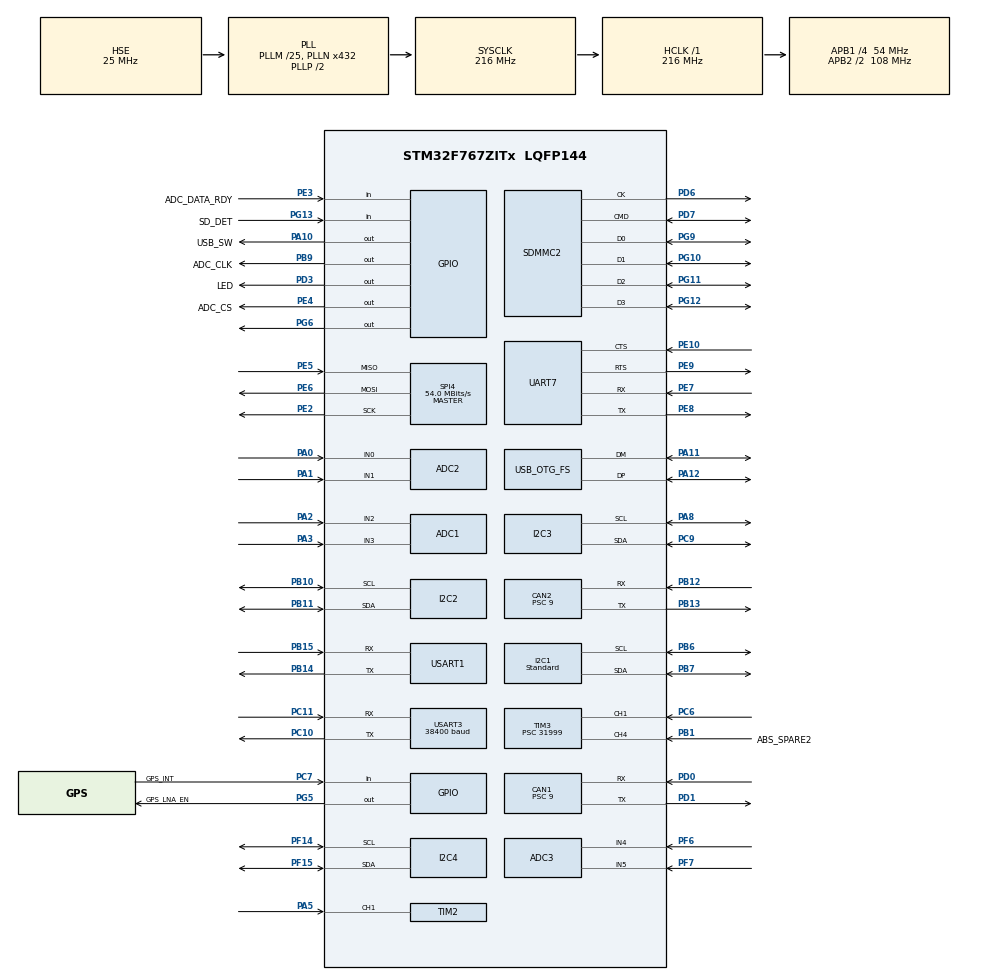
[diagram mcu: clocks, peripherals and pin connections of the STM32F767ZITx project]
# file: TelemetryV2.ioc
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ADC1.Channel-1\#ChannelRegularConversion=ADC_CHANNEL_2
ADC1.Channel-2\#ChannelRegularConversion=ADC_CHANNEL_3
ADC1.ClockPrescaler=ADC_CLOCK_SYNC_PCLK_DIV4
ADC1.ContinuousConvMode=ENABLE
ADC1.DMAContinuousRequests=ENABLE
ADC1.NbrOfConversion=2
ADC1.NbrOfConversionFlag=1
ADC1.Rank-1\#ChannelRegularConversion=1
ADC1.Rank-2\#ChannelRegularConversion=2
ADC1.SamplingTime-1\#ChannelRegularConversion=ADC_SAMPLETIME_480CYCLES
ADC1.SamplingTime-2\#ChannelRegularConversion=ADC_SAMPLETIME_480CYCLES
ADC1.ScanConvMode=ADC_SCAN_ENABLE
ADC1.master=1
ADC2.Channel-0\#ChannelRegularConversion=ADC_CHANNEL_0
ADC2.Channel-1\#ChannelRegularConversion=ADC_CHANNEL_1
ADC2.ClockPrescaler=ADC_CLOCK_SYNC_PCLK_DIV4
ADC2.ContinuousConvMode=ENABLE
ADC2.DMAContinuousRequests=ENABLE
ADC2.NbrOfConversion=2
ADC2.NbrOfConversionFlag=1
ADC2.Rank-0\#ChannelRegularConversion=1
ADC2.Rank-1\#ChannelRegularConversion=2
ADC2.SamplingTime-0\#ChannelRegularConversion=ADC_SAMPLETIME_480CYCLES
ADC2.SamplingTime-1\#ChannelRegularConversion=ADC_SAMPLETIME_480CYCLES
ADC2.ScanConvMode=ADC_SCAN_ENABLE
ADC3.Channel-0\#ChannelRegularConversion=ADC_CHANNEL_4
ADC3.Channel-1\#ChannelRegularConversion=ADC_CHANNEL_5
ADC3.ClockPrescaler=ADC_CLOCK_SYNC_PCLK_DIV4
ADC3.ContinuousConvMode=ENABLE
ADC3.DMAContinuousRequests=ENABLE
ADC3.NbrOfConversion=2
ADC3.NbrOfConversionFlag=1
ADC3.Rank-0\#ChannelRegularConversion=1
ADC3.Rank-1\#ChannelRegularConversion=2
ADC3.SamplingTime-0\#ChannelRegularConversion=ADC_SAMPLETIME_480CYCLES
ADC3.SamplingTime-1\#ChannelRegularConversion=ADC_SAMPLETIME_480CYCLES
ADC3.ScanConvMode=ADC_SCAN_ENABLE
CAN1.BS1=CAN_BS1_2TQ
CAN1.BS2=CAN_BS2_3TQ
CAN1.CalculateBaudRate=999999
CAN1.CalculateTimeBit=1000
CAN1.CalculateTimeQuantum=166.66666666666669
CAN1.NART=ENABLE
CAN1.Prescaler=9
CAN1.SJW=CAN_SJW_2TQ
CAN2.BS1=CAN_BS1_2TQ
CAN2.BS2=CAN_BS2_3TQ
CAN2.CalculateBaudRate=999999
CAN2.CalculateTimeBit=1000
CAN2.CalculateTimeQuantum=166.66666666666669
CAN2.NART=ENABLE
CAN2.Prescaler=9
CAN2.SJW=CAN_SJW_2TQ
Dma.ADC1.2.Direction=DMA_PERIPH_TO_MEMORY
Dma.ADC1.2.FIFOMode=DMA_FIFOMODE_DISABLE
Dma.ADC1.2.Instance=DMA2_Stream4
Dma.ADC1.2.MemDataAlignment=DMA_MDATAALIGN_HALFWORD
Dma.ADC1.2.MemInc=DMA_MINC_ENABLE
Dma.ADC1.2.Mode=DMA_CIRCULAR
Dma.ADC1.2.PeriphDataAlignment=DMA_PDATAALIGN_HALFWORD
Dma.ADC1.2.PeriphInc=DMA_PINC_DISABLE
Dma.ADC1.2.Priority=DMA_PRIORITY_LOW
Dma.ADC2.3.Direction=DMA_PERIPH_TO_MEMORY
Dma.ADC2.3.FIFOMode=DMA_FIFOMODE_DISABLE
Dma.ADC2.3.Instance=DMA2_Stream2
Dma.ADC2.3.MemDataAlignment=DMA_MDATAALIGN_HALFWORD
Dma.ADC2.3.MemInc=DMA_MINC_ENABLE
Dma.ADC2.3.Mode=DMA_CIRCULAR
Dma.ADC2.3.PeriphDataAlignment=DMA_PDATAALIGN_HALFWORD
Dma.ADC2.3.PeriphInc=DMA_PINC_DISABLE
Dma.ADC2.3.Priority=DMA_PRIORITY_LOW
Dma.ADC3.4.Direction=DMA_PERIPH_TO_MEMORY
Dma.ADC3.4.FIFOMode=DMA_FIFOMODE_DISABLE
Dma.ADC3.4.Instance=DMA2_Stream1
Dma.ADC3.4.MemDataAlignment=DMA_MDATAALIGN_HALFWORD
Dma.ADC3.4.MemInc=DMA_MINC_ENABLE
Dma.ADC3.4.Mode=DMA_NORMAL
Dma.ADC3.4.PeriphDataAlignment=DMA_PDATAALIGN_HALFWORD
Dma.ADC3.4.PeriphInc=DMA_PINC_DISABLE
Dma.ADC3.4.Priority=DMA_PRIORITY_LOW
Dma.Request0=SDMMC2_RX
Dma.Request1=SDMMC2_TX
Dma.Request2=ADC1
Dma.Request3=ADC2
Dma.Request4=ADC3
Dma.SDMMC2_RX.0.Direction=DMA_PERIPH_TO_MEMORY
Dma.SDMMC2_RX.0.FIFOMode=DMA_FIFOMODE_ENABLE
Dma.SDMMC2_RX.0.FIFOThreshold=DMA_FIFO_THRESHOLD_FULL
Dma.SDMMC2_RX.0.Instance=DMA2_Stream0
Dma.SDMMC2_RX.0.MemBurst=DMA_MBURST_INC4
Dma.SDMMC2_RX.0.MemDataAlignment=DMA_MDATAALIGN_WORD
Dma.SDMMC2_RX.0.MemInc=DMA_MINC_ENABLE
Dma.SDMMC2_RX.0.Mode=DMA_PFCTRL
Dma.SDMMC2_RX.0.PeriphBurst=DMA_PBURST_INC4
Dma.SDMMC2_RX.0.PeriphDataAlignment=DMA_PDATAALIGN_WORD
Dma.SDMMC2_RX.0.PeriphInc=DMA_PINC_DISABLE
Dma.SDMMC2_RX.0.Priority=DMA_PRIORITY_LOW
Dma.SDMMC2_TX.1.Direction=DMA_MEMORY_TO_PERIPH
Dma.SDMMC2_TX.1.FIFOMode=DMA_FIFOMODE_ENABLE
Dma.SDMMC2_TX.1.FIFOThreshold=DMA_FIFO_THRESHOLD_FULL
Dma.SDMMC2_TX.1.Instance=DMA2_Stream5
Dma.SDMMC2_TX.1.MemBurst=DMA_MBURST_INC4
Dma.SDMMC2_TX.1.MemDataAlignment=DMA_MDATAALIGN_WORD
Dma.SDMMC2_TX.1.MemInc=DMA_MINC_ENABLE
Dma.SDMMC2_TX.1.Mode=DMA_PFCTRL
Dma.SDMMC2_TX.1.PeriphBurst=DMA_PBURST_INC4
Dma.SDMMC2_TX.1.PeriphDataAlignment=DMA_PDATAALIGN_WORD
Dma.SDMMC2_TX.1.PeriphInc=DMA_PINC_DISABLE
Dma.SDMMC2_TX.1.Priority=DMA_PRIORITY_LOW
FATFS.BSP.number=1
FATFS.USE_DMA_CODE_SD=1
FATFS._FS_LOCK=5
FATFS._MAX_LFN=40
FATFS._MAX_SS=4096
FATFS._MIN_SS=512
FATFS._STRF_ENCODE=0
FATFS._USE_LFN=1
FATFS0.BSP.STBoard=false
FATFS0.BSP.api=Unknown
FATFS0.BSP.instance=PG13
FATFS0.BSP.ip=GPIO
FATFS0.BSP.mode=Input
FATFS0.BSP.name=Detect_SDIO
FATFS0.BSP.solution=PG13
I2C1.I2C_Speed_Mode=I2C_Standard
I2C1.Timing=0x20404768
I2C2.Timing=0x20404768
I2C3.Timing=0x20404768
I2C4.Timing=0x20404768
Mcu.Family=STM32F7
Mcu.Name=STM32F767ZITx
Mcu.Package=LQFP144
NVIC.CAN1_RX0_IRQn=true\:0\:0\:false\:false\:true\:true\:true\:true
NVIC.CAN1_RX1_IRQn=true\:0\:0\:false\:false\:true\:true\:true\:true
NVIC.CAN1_TX_IRQn=true\:0\:0\:false\:false\:true\:true\:true\:true
NVIC.CAN2_RX0_IRQn=true\:0\:0\:false\:false\:true\:true\:true\:true
NVIC.CAN2_RX1_IRQn=true\:0\:0\:false\:false\:true\:true\:true\:true
NVIC.CAN2_TX_IRQn=true\:0\:0\:false\:false\:true\:true\:true\:true
NVIC.DMA2_Stream0_IRQn=true\:0\:0\:false\:false\:true\:false\:true\:true
NVIC.DMA2_Stream1_IRQn=true\:0\:0\:false\:false\:true\:false\:true\:true
NVIC.DMA2_Stream2_IRQn=true\:0\:0\:false\:false\:true\:false\:true\:true
NVIC.DMA2_Stream4_IRQn=true\:0\:0\:false\:false\:true\:false\:true\:true
NVIC.DMA2_Stream5_IRQn=true\:0\:0\:false\:false\:true\:false\:true\:true
NVIC.PriorityGroup=NVIC_PRIORITYGROUP_4
NVIC.SDMMC2_IRQn=true\:0\:0\:false\:false\:true\:true\:true\:true
NVIC.TIM2_IRQn=true\:0\:0\:false\:false\:true\:true\:true\:true
NVIC.TIM3_IRQn=true\:0\:0\:false\:false\:true\:true\:true\:true
NVIC.TIM8_TRG_COM_TIM14_IRQn=true\:0\:0\:true\:false\:true\:true\:true\:true
NVIC.USART3_IRQn=true\:0\:0\:false\:false\:true\:true\:true\:true
PA0/WKUP.Signal=ADCx_IN0
PA1.Signal=ADCx_IN1
PA10.GPIO_Label=USB_SW
PA10.Signal=GPIO_Output
PA11.Mode=Host_Only
PA11.Signal=USB_OTG_FS_DM
PA12.Mode=Host_Only
PA12.Signal=USB_OTG_FS_DP
PA2.Signal=ADCx_IN2
PA3.Signal=ADCx_IN3
PA5.Signal=S_TIM2_CH1_ETR
PA8.Mode=I2C
PA8.Signal=I2C3_SCL
PB1.GPIO_Label=ABS_SPARE2
PB1.Signal=S_TIM3_CH4
PB10.Mode=I2C
PB10.Signal=I2C2_SCL
PB11.Mode=I2C
PB11.Signal=I2C2_SDA
PB12.Mode=CAN_Activate
PB12.Signal=CAN2_RX
PB13.Mode=CAN_Activate
PB13.Signal=CAN2_TX
PB14.Mode=Asynchronous
PB14.Signal=USART1_TX
PB15.Mode=Asynchronous
PB15.Signal=USART1_RX
PB6.GPIO_Pu=GPIO_PULLUP
PB6.Mode=I2C
PB6.Signal=I2C1_SCL
PB7.GPIO_Pu=GPIO_PULLUP
PB7.Mode=I2C
PB7.Signal=I2C1_SDA
PB9.GPIO_Label=ADC_CLK
PB9.Signal=GPIO_Output
PC10.Mode=Asynchronous
PC10.Signal=USART3_TX
PC11.Mode=Asynchronous
PC11.Signal=USART3_RX
PC14/OSC32_IN.Mode=LSE-External-Oscillator
PC14/OSC32_IN.Signal=RCC_OSC32_IN
PC15/OSC32_OUT.Mode=LSE-External-Oscillator
PC15/OSC32_OUT.Signal=RCC_OSC32_OUT
PC6.Signal=S_TIM3_CH1
PC7.GPIO_Label=GPS_INT
PC7.Signal=GPIO_Input
PC9.Mode=I2C
PC9.Signal=I2C3_SDA
PD0.Mode=CAN_Activate
PD0.Signal=CAN1_RX
PD1.Mode=CAN_Activate
PD1.Signal=CAN1_TX
PD3.GPIO_Label=LED
PD3.Signal=GPIO_Output
PD6.GPIO_PuPd=GPIO_NOPULL
PD6.Mode=SD_4_bits_Wide_bus
PD6.Signal=SDMMC2_CK
PD7.GPIO_PuPd=GPIO_NOPULL
PD7.Mode=SD_4_bits_Wide_bus
PD7.Signal=SDMMC2_CMD
PE10.Mode=CTS_RTS
PE10.Signal=UART7_CTS
PE2.Mode=Full_Duplex_Master
PE2.Signal=SPI4_SCK
PE3.GPIO_Label=ADC_DATA_RDY
PE3.Signal=GPIO_Input
PE4.GPIO_Label=ADC_CS
PE4.Signal=GPIO_Output
PE5.Mode=Full_Duplex_Master
PE5.Signal=SPI4_MISO
PE6.Mode=Full_Duplex_Master
PE6.Signal=SPI4_MOSI
PE7.Mode=Asynchronous
PE7.Signal=UART7_RX
PE8.Mode=Asynchronous
PE8.Signal=UART7_TX
PE9.Mode=CTS_RTS
PE9.Signal=UART7_RTS
PF14.Mode=I2C
PF14.Signal=I2C4_SCL
PF15.Mode=I2C
PF15.Signal=I2C4_SDA
PF6.Mode=IN4
PF6.Signal=ADC3_IN4
PF7.Mode=IN5
PF7.Signal=ADC3_IN5
PG10.GPIO_PuPd=GPIO_NOPULL
PG10.Mode=SD_4_bits_Wide_bus
PG10.Signal=SDMMC2_D1
PG11.GPIO_PuPd=GPIO_NOPULL
PG11.Mode=SD_4_bits_Wide_bus
PG11.Signal=SDMMC2_D2
PG12.GPIO_PuPd=GPIO_NOPULL
PG12.Mode=SD_4_bits_Wide_bus
PG12.Signal=SDMMC2_D3
PG13.GPIO_Label=SD_DET
PG13.GPIO_PuPd=GPIO_PULLDOWN
PG13.Signal=GPIO_Input
PG5.GPIO_Label=GPS_LNA_EN
PG5.PinState=GPIO_PIN_SET
PG5.Signal=GPIO_Output
PG6.Signal=GPIO_Output
PG9.GPIO_PuPd=GPIO_NOPULL
PG9.Mode=SD_4_bits_Wide_bus
PG9.Signal=SDMMC2_D0
PH0/OSC_IN.Mode=HSE-External-Oscillator
PH0/OSC_IN.Signal=RCC_OSC_IN
PH1/OSC_OUT.Mode=HSE-External-Oscillator
PH1/OSC_OUT.Signal=RCC_OSC_OUT
ProjectManager.HeapSize=0x200
ProjectManager.StackSize=0x400
ProjectManager.TargetToolchain=STM32CubeIDE
RCC.AHBFreq_Value=216000000
RCC.APB1CLKDivider=RCC_HCLK_DIV4
RCC.APB1Freq_Value=54000000
RCC.APB1TimFreq_Value=108000000
RCC.APB2CLKDivider=RCC_HCLK_DIV2
RCC.APB2Freq_Value=108000000
RCC.APB2TimFreq_Value=216000000
RCC.CortexFreq_Value=216000000
RCC.HCLKFreq_Value=216000000
RCC.HSE_VALUE=25000000
RCC.HSI_VALUE=16000000
RCC.LSE_Drive_Capability=RCC_LSEDRIVE_HIGH
RCC.LSE_Timout=2000
RCC.PLLM=25
RCC.PLLN=432
RCC.PLLQ=9
RCC.RCC_TIM_PRescaler_Selection=RCC_TIMPRES_DESACTIVATED
RCC.RTCClockSelection=RCC_RTCCLKSOURCE_LSE
RCC.SDMMC2ClockSelection=RCC_SDMMC2CLKSOURCE_CLK48
RCC.SYSCLKFreq_VALUE=216000000
RCC.SYSCLKSource=RCC_SYSCLKSOURCE_PLLCLK
RCC.USBFreq_Value=48000000
RCC.VCOOutputFreq_Value=432000000
RTC.AsynchPrediv=31
RTC.Format=RTC_FORMAT_BIN
RTC.SynchPrediv=1023
SDMMC2.ClockDiv=0
SH.ADCx_IN0.0=ADC2_IN0,IN0
SH.ADCx_IN1.0=ADC2_IN1,IN1
SH.ADCx_IN2.0=ADC1_IN2,IN2
SH.ADCx_IN3.0=ADC1_IN3,IN3
SH.S_TIM2_CH1_ETR.0=TIM2_CH1,TriggerSource_TI1ED
SH.S_TIM2_CH1_ETR.1=TIM2_CH1,Input_Capture1_from_TI1
SH.S_TIM3_CH1.0=TIM3_CH1,TriggerSource_TI1ED
SH.S_TIM3_CH4.0=TIM3_CH4,Input_Capture4_from_TI4
SPI4.BaudRatePrescaler=SPI_BAUDRATEPRESCALER_2
SPI4.CalculateBaudRate=54.0 MBits/s
SPI4.Direction=SPI_DIRECTION_2LINES
SPI4.Mode=SPI_MODE_MASTER
SPI4.VirtualType=VM_MASTER
TIM14.AutoReloadPreload=TIM_AUTORELOAD_PRELOAD_ENABLE
TIM14.Period=49
TIM14.Prescaler=10799
TIM2.Channel-Input_Capture1_from_TI1=TIM_CHANNEL_1
TIM2.ICFilter_CH1=15
TIM2.Prescaler=31999
TIM3.Channel-Input_Capture4_from_TI4=TIM_CHANNEL_4
TIM3.ICFilter_CH4=15
TIM3.Prescaler=31999
USART1.VirtualMode-Asynchronous=VM_ASYNC
USART3.BaudRate=38400
USART3.DMADisableonRxErrorParam=ADVFEATURE_DMA_DISABLEONRXERROR
USART3.OneBitSampling=UART_ONE_BIT_SAMPLE_DISABLE
USART3.OverrunDisableParam=ADVFEATURE_OVERRUN_DISABLE
USART3.VirtualMode-Asynchronous=VM_ASYNC
USB_OTG_FS.VirtualMode=Host_Only
USB_OTG_FS.phy_itface=HCD_PHY_EMBEDDED
VP_FATFS_VS_SDIO.Mode=SDIO
VP_RTC_VS_RTC_Activate.Mode=RTC_Enabled
VP_RTC_VS_RTC_Calendar.Mode=RTC_Calendar
VP_TIM14_VS_ClockSourceINT.Mode=Enable_Timer
VP_TIM2_VS_ClockSourceINT.Mode=Internal
VP_TIM2_VS_ControllerModeReset.Mode=Reset Mode
VP_TIM3_VS_ClockSourceINT.Mode=Internal
VP_TIM3_VS_ControllerModeReset.Mode=Reset Mode
board=custom

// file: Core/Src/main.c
/* USER CODE BEGIN Header */
/**
  ******************************************************************************
  * @file           : main.c
  * @brief          : Main program body
  ******************************************************************************
  * @attention
  *
  * Copyright (c) 2023 STMicroelectronics.
  * All rights reserved.
  *
  * This software is licensed under terms that can be found in the LICENSE file
  * in the root directory of this software component.
  * If no LICENSE file comes with this software, it is provided AS-IS.
  *
  ******************************************************************************
  */
/* USER CODE END Header */
#include "main.h"
#include "adc.h"
#include "can.h"
#include "dma.h"
#include "fatfs.h"
#include "i2c.h"
#include "rtc.h"
#include "sdmmc.h"
#include "spi.h"
#include "tim.h"
#include "usart.h"
#include "usb_otg.h"
#include "gpio.h"

/* USER CODE BEGIN Includes */
#include <stdio.h>
#include <string.h>
#include <stdarg.h>

#include "handler.h"
#include "sdcard/SDCARD.h"
#include "ecumaster.h"
#include "Utils/time.h"

/* USER CODE END Includes */

/* USER CODE BEGIN PV */

 extern sensorDataHandler _dataHandler[];
 extern SensorStatus statusRegister;
/* USER CODE END PV */

void SystemClock_Config(void);

/* USER CODE BEGIN 0 */

void HAL_TIM_PeriodElapsedCallback(TIM_HandleTypeDef *htim)
{

  if (htim == &htim14 )
  {
	  IMUInnerSensor.timeToNextRead -= 5;
	 if(IMUInnerSensor.timeToNextRead <= 0){
		 if(IMUInnerSensor.dataReady){
			 IMUInnerSensor.dataReady=0;
			 _dataHandler[IMU].dataReady = 1;
		 }

		 IMUInnerSensor.timeToNextRead = 0;
	 }
	 damperLFSensor.timeToNextRead -= 5;
	 if(damperLFSensor.timeToNextRead <= 0){
		 _dataHandler[DAMPERRF].dataReady = 1;
		 _dataHandler[DAMPERLF].dataReady = 1;
		 _dataHandler[DAMPERRR].dataReady = 1;
		 _dataHandler[DAMPERLR].dataReady = 1;
		 _dataHandler[WHEEL].dataReady = 1;
		 damperLFSensor.timeToNextRead = 5;
	 }
	 damperLFSensor.sendDataByCanTime -= 5;
	 if( damperLFSensor.sendDataByCanTime<= 0){
		 adcSendDataByCan(&damperLFSensor);
		 adcSendDataByCan(&damperRFSensor);
		 adcSendDataByCan(&damperRRSensor);
		 adcSendDataByCan(&damperLRSensor);
		 damperLFSensor.sendDataByCanTime = 100;
	 }
	 absLFSensor.timeToNextRead -= 5;
	 if(absLFSensor.timeToNextRead <= 0)
	 {
		 ABSCalculate(&absLFSensor);
		 absLFSensor.timestamp = getSeconds();
		 absLFSensor.timeToNextRead = 5;
		 _dataHandler[ABSLF].dataReady = 1;
	 }
	 absRFSensor.timeToNextRead -= 5;
	 if(absRFSensor.timeToNextRead <= 0)
	 {
		 ABSCalculate(&absRFSensor);
		 absRFSensor.timestamp = getSeconds();
		 absRFSensor.timeToNextRead = 5;
		 _dataHandler[ABSRF].dataReady = 1;
	 }

  }
}

//ABS Callback handler
void HAL_TIM_IC_CaptureCallback(TIM_HandleTypeDef *htim)
{
	ABSCallbackHandler(htim);
}
//GPS Callback handler
void HAL_UART_RxCpltCallback(UART_HandleTypeDef *huart)
{

	if(huart==gpsSensor.uart)
	{
		GPSCallbackHandler();
	}
}

/* USER CODE END 0 */

int main(void)
{

  /* MCU Configuration--------------------------------------------------------*/

  /* Reset of all peripherals, Initializes the Flash interface and the Systick. */
  HAL_Init();

  /* Configure the system clock */
  SystemClock_Config();

  /* Initialize all configured peripherals */
  MX_GPIO_Init();
  MX_DMA_Init();
  MX_USART3_UART_Init();
  MX_SDMMC2_SD_Init();
  MX_I2C1_Init();
  MX_FATFS_Init();
  MX_ADC1_Init();
  MX_ADC2_Init();
  MX_ADC3_Init();
  MX_CAN1_Init();
  MX_CAN2_Init();
  MX_I2C2_Init();
  MX_I2C3_Init();
  MX_I2C4_Init();
  MX_SPI4_Init();
  MX_UART7_Init();
  MX_USART1_UART_Init();
  MX_USB_OTG_FS_HCD_Init();
  MX_TIM2_Init();
  MX_TIM14_Init();
  MX_RTC_Init();
  MX_TIM3_Init();
  /* USER CODE BEGIN 2 */
  //initialise_monitor_handles();
  /* USER CODE END 2 */

  /* Infinite loop */
  /* USER CODE BEGIN WHILE */
  statusRegister.checkTime = SENSOR_ALL_CHECK_TIME;
  initSensors();

  HAL_TIM_Base_Start_IT(&htim14);

  FATFS fileSystem;
  sdInit(&fileSystem);
  printStatusRegister();
  if((statusRegister.SDCARD & 0b100) < SENSOR_FAIL){
  	  openAllFiles();
  }

  {
	  char time[25];
	  getTimeInUTCFormat(time);
	  printf("Current Date: %02d/%02d/%04d\n", globalDate.Date, globalDate.Month,2000 + globalDate.Year);
	  printf("Current time: %s\n", time);
  }
  //ALL INITIALIZED WITHOUT FATAL ERROR TURN LED ON
  HAL_GPIO_WritePin(GPIOD, GPIO_PIN_3, 1);

  int timePassed = HAL_GetTick();
    /* USER CODE END 2 */

    /* Infinite loop */
    /* USER CODE BEGIN WHILE */
  while (1)
  {
    /* USER CODE END WHILE */

    /* USER CODE BEGIN 3 */
    for(SENSORS i=0;i<SENSORS_N;i++)
  	{
  		if( _dataHandler[i].isActive)
  		{
  			if(_dataHandler[i].getDataHandler != NULL)
  			{
  				 _dataHandler[i].getDataHandler(_dataHandler[i].sensorStruct);
  			}
  			if((statusRegister.SDCARD & 0b100) < SENSOR_FAIL)
  			{
				if(_dataHandler[i].dataReady == 1 && _dataHandler[i].saveDataHandler != NULL)
				{
					_dataHandler[i].saveDataHandler(_dataHandler[i].sensorStruct);
					_dataHandler[i].dataReady = 0;
				}
  			}else
  			{
				if(HAL_GetTick() - timePassed > 1000)
				{
					HAL_GPIO_TogglePin(GPIOD, GPIO_PIN_3);
					timePassed = HAL_GetTick();
					printf("SD card not initialized\n");
				}

  			}
  		}
	}
	//sendEcuLogs(ecuData);
    if((statusRegister.SDCARD & 0b100) < SENSOR_FAIL)
	{
    	if(HAL_GetTick() - timePassed > 5000)
  		{
			sdFlush();
			timePassed = HAL_GetTick();
		}
	}

  }
  /* USER CODE END 3 */
}

void SystemClock_Config(void)
{
  RCC_OscInitTypeDef RCC_OscInitStruct = {0};
  RCC_ClkInitTypeDef RCC_ClkInitStruct = {0};

  /** Configure LSE Drive Capability
  */
  HAL_PWR_EnableBkUpAccess();
  __HAL_RCC_LSEDRIVE_CONFIG(RCC_LSEDRIVE_HIGH);

  /** Configure the main internal regulator output voltage
  */
  __HAL_RCC_PWR_CLK_ENABLE();
  __HAL_PWR_VOLTAGESCALING_CONFIG(PWR_REGULATOR_VOLTAGE_SCALE1);

  /** Initializes the RCC Oscillators according to the specified parameters
  * in the RCC_OscInitTypeDef structure.
  */
  RCC_OscInitStruct.OscillatorType = RCC_OSCILLATORTYPE_HSE|RCC_OSCILLATORTYPE_LSE;
  RCC_OscInitStruct.HSEState = RCC_HSE_ON;
  RCC_OscInitStruct.LSEState = RCC_LSE_ON;
  RCC_OscInitStruct.PLL.PLLState = RCC_PLL_ON;
  RCC_OscInitStruct.PLL.PLLSource = RCC_PLLSOURCE_HSE;
  RCC_OscInitStruct.PLL.PLLM = 25;
  RCC_OscInitStruct.PLL.PLLN = 432;
  RCC_OscInitStruct.PLL.PLLP = RCC_PLLP_DIV2;
  RCC_OscInitStruct.PLL.PLLQ = 9;
  RCC_OscInitStruct.PLL.PLLR = 2;
  if (HAL_RCC_OscConfig(&RCC_OscInitStruct) != HAL_OK)
  {
    Error_Handler();
  }

  /** Activate the Over-Drive mode
  */
  if (HAL_PWREx_EnableOverDrive() != HAL_OK)
  {
    Error_Handler();
  }

  /** Initializes the CPU, AHB and APB buses clocks
  */
  RCC_ClkInitStruct.ClockType = RCC_CLOCKTYPE_HCLK|RCC_CLOCKTYPE_SYSCLK
                              |RCC_CLOCKTYPE_PCLK1|RCC_CLOCKTYPE_PCLK2;
  RCC_ClkInitStruct.SYSCLKSource = RCC_SYSCLKSOURCE_PLLCLK;
  RCC_ClkInitStruct.AHBCLKDivider = RCC_SYSCLK_DIV1;
  RCC_ClkInitStruct.APB1CLKDivider = RCC_HCLK_DIV4;
  RCC_ClkInitStruct.APB2CLKDivider = RCC_HCLK_DIV2;

  if (HAL_RCC_ClockConfig(&RCC_ClkInitStruct, FLASH_LATENCY_7) != HAL_OK)
  {
    Error_Handler();
  }
}

void Error_Handler(void)
{
  /* USER CODE BEGIN Error_Handler_Debug */
  /* User can add his own implementation to report the HAL error return state */
  __disable_irq();
  while (1)
  {
	  for(int i =1000000;i > 0; i--){
		  HAL_GPIO_TogglePin(GPIOD, GPIO_PIN_3);
	  }
  }
  /* USER CODE END Error_Handler_Debug */
}
